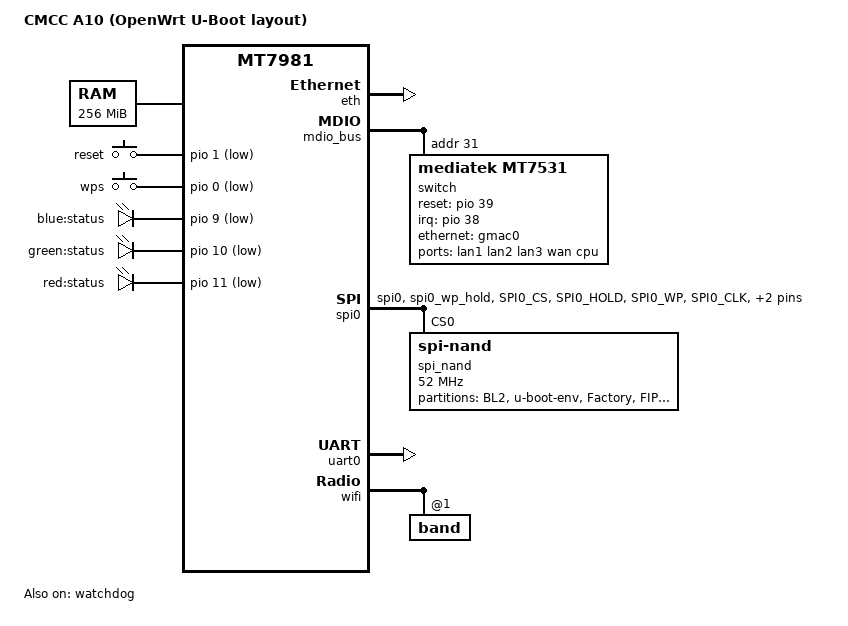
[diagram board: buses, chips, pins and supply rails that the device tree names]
// SPDX-License-Identifier: GPL-2.0-or-later OR MIT
/*
 * CMCC A10 - OpenWrt U-Boot FIT/UBI layout
 * Reconstructed against a verified booting ImmortalWrt 24.10.6 sysupgrade.itb.
 */

/dts-v1/;
#include <dt-bindings/gpio/gpio.h>
#include <dt-bindings/input/input.h>

#include "mt7981.dtsi"

/ {
	model = "CMCC A10 (OpenWrt U-Boot layout)";
	compatible = "cmcc,a10-ubootmod", "mediatek,mt7981";

	aliases {
		serial0 = &uart0;
		label-mac-device = &gmac0;
		led-boot = &led_status_red;
		led-failsafe = &led_status_red;
		led-running = &led_status_green;
		led-upgrade = &led_status_green;
	};

	chosen {
		stdout-path = "serial0:115200n8";
		bootargs = "root=/dev/fit0 rootwait";
		rootdisk = <&ubi_rootdisk>;
	};

	memory {
		reg = <0 0x40000000 0 0x10000000>;
	};

	gpio-keys {
		compatible = "gpio-keys";

		reset {
			label = "reset";
			linux,code = <KEY_RESTART>;
			gpios = <&pio 1 GPIO_ACTIVE_LOW>;
		};

		wps {
			label = "wps";
			linux,code = <KEY_WPS_BUTTON>;
			gpios = <&pio 0 GPIO_ACTIVE_LOW>;
		};
	};

	leds {
		compatible = "gpio-leds";

		led_status_blue: blue {
			label = "blue:status";
			gpios = <&pio 9 GPIO_ACTIVE_LOW>;
		};

		led_status_green: green {
			label = "green:status";
			gpios = <&pio 10 GPIO_ACTIVE_LOW>;
		};

		led_status_red: red {
			label = "red:status";
			gpios = <&pio 11 GPIO_ACTIVE_LOW>;
		};
	};
};

&eth {
	status = "okay";

	gmac0: mac@0 {
		compatible = "mediatek,eth-mac";
		reg = <0>;
		phy-mode = "2500base-x";

		nvmem-cells = <&macaddr_factory_2a 0>;
		nvmem-cell-names = "mac-address";

		fixed-link {
			speed = <2500>;
			full-duplex;
			pause;
		};
	};
};

&mdio_bus {
	switch: switch@1f {
		compatible = "mediatek,mt7531";
		reg = <31>;
		reset-gpios = <&pio 39 GPIO_ACTIVE_HIGH>;
		interrupt-controller;
		#interrupt-cells = <1>;
		interrupt-parent = <&pio>;
		interrupts = <38 IRQ_TYPE_LEVEL_HIGH>;
	};
};

&spi0 {
	pinctrl-names = "default";
	pinctrl-0 = <&spi0_flash_pins>;
	status = "okay";

	spi_nand: flash@0 {
		compatible = "spi-nand";
		#address-cells = <1>;
		#size-cells = <1>;
		reg = <0>;

		spi-max-frequency = <52000000>;
		spi-tx-bus-width = <4>;
		spi-rx-bus-width = <4>;

		partitions {
			compatible = "fixed-partitions";
			#address-cells = <1>;
			#size-cells = <1>;

			partition@0 {
				label = "BL2";
				reg = <0x0000000 0x0100000>;
				read-only;
			};

			partition@100000 {
				label = "u-boot-env";
				reg = <0x0100000 0x0080000>;
			};

			factory: partition@180000 {
				label = "Factory";
				reg = <0x0180000 0x0200000>;
				read-only;

				nvmem-layout {
					compatible = "fixed-layout";
					#address-cells = <1>;
					#size-cells = <1>;

					eeprom_factory_0: eeprom@0 {
						reg = <0x0 0x1000>;
					};

					macaddr_factory_a: macaddr@a {
						compatible = "mac-base";
						reg = <0xa 0x6>;
						#nvmem-cell-cells = <1>;
					};

					macaddr_factory_24: macaddr@24 {
						compatible = "mac-base";
						reg = <0x24 0x6>;
						#nvmem-cell-cells = <1>;
					};

					macaddr_factory_2a: macaddr@2a {
						compatible = "mac-base";
						reg = <0x2a 0x6>;
						#nvmem-cell-cells = <1>;
					};
				};
			};

			partition@380000 {
				label = "FIP";
				reg = <0x0380000 0x0200000>;
				read-only;
			};

			partition@580000 {
				label = "ubi";
				reg = <0x0580000 0x07a80000>;
				compatible = "linux,ubi";

				volumes {
					ubi_rootdisk: ubi-volume-fit {
						volname = "fit";
					};
				};
			};
		};
	};
};

&switch {
	ports {
		#address-cells = <1>;
		#size-cells = <0>;

		port@0 {
			reg = <0>;
			label = "lan1";
		};

		port@2 {
			reg = <2>;
			label = "lan2";
		};

		port@3 {
			reg = <3>;
			label = "lan3";
		};

		port@4 {
			reg = <4>;
			label = "wan";
			nvmem-cells = <&macaddr_factory_24 0>;
			nvmem-cell-names = "mac-address";
		};

		port@6 {
			reg = <6>;
			label = "cpu";
			ethernet = <&gmac0>;
			phy-mode = "2500base-x";

			fixed-link {
				speed = <2500>;
				full-duplex;
				pause;
			};
		};
	};
};

&pio {
	spi0_flash_pins: spi0-pins {
		mux {
			function = "spi";
			groups = "spi0", "spi0_wp_hold";
		};

		conf-pu {
			pins = "SPI0_CS", "SPI0_HOLD", "SPI0_WP";
			drive-strength = <8>;
			mediatek,pull-up-adv = <0>;
		};

		conf-pd {
			pins = "SPI0_CLK", "SPI0_MOSI", "SPI0_MISO";
			drive-strength = <8>;
			mediatek,pull-up-adv = <0>;
		};
	};
};

&uart0 {
	status = "okay";
};

&watchdog {
	status = "okay";
};

&wifi {
	#address-cells = <1>;
	#size-cells = <0>;
	nvmem-cells = <&eeprom_factory_0>;
	nvmem-cell-names = "eeprom";
	status = "okay";

	band@1 {
		reg = <1>;
		nvmem-cells = <&macaddr_factory_a 0>;
		nvmem-cell-names = "mac-address";
	};
};
